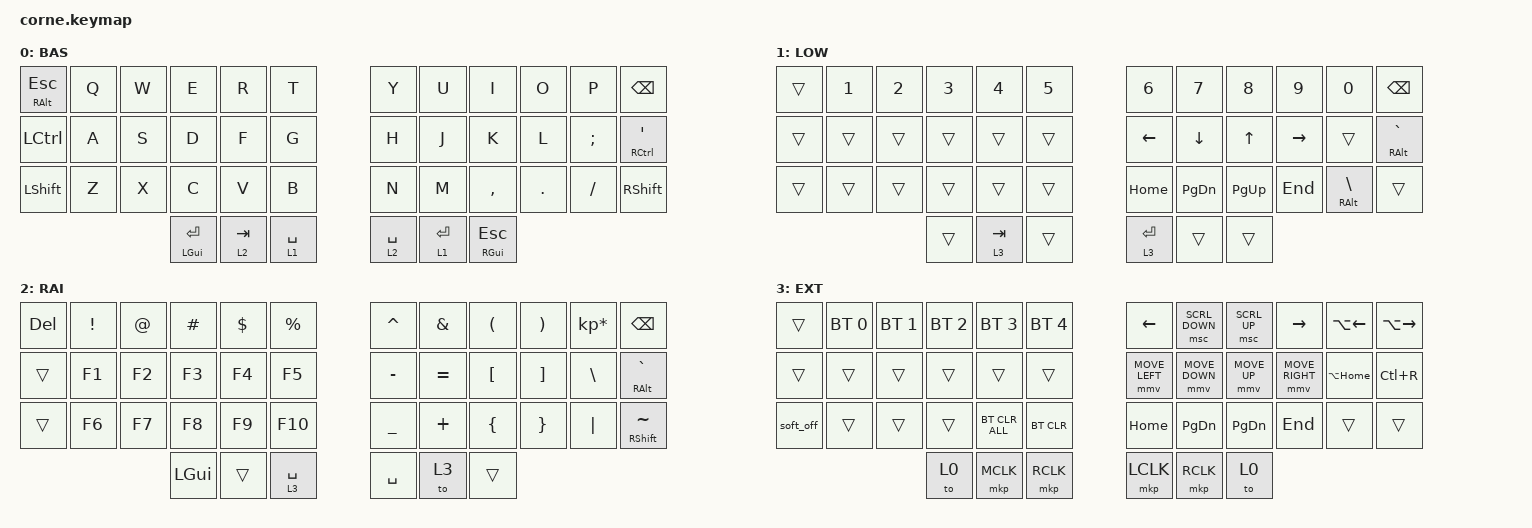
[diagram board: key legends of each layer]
/*
 * Copyright (c) 2020 The ZMK Contributors
 *
 * SPDX-License-Identifier: MIT
 */

#include <dt-bindings/led/led.h>
#include <dt-bindings/zmk/reset.h>
#include <behaviors.dtsi>
#include <dt-bindings/zmk/bt.h>
#include <dt-bindings/zmk/keys.h>
#include <dt-bindings/zmk/pointing.h>

&led_strip { chain-length = <27>; };

/ {
    keymap {
        compatible = "zmk,keymap";

        default_layer {
            display-name = "BAS";

            // -----------------------------------------------------------------------------------------
            // |  TAB |  Q  |  W  |  E  |  R  |  T  |   |  Y  |  U   |  I  |  O  |  P  | BKSP |
            // | CTRL |  A  |  S  |  D  |  F  |  G  |   |  H  |  J   |  K  |  L  |  ;  |  '   |
            // | SHFT |  Z  |  X  |  C  |  V  |  B  |   |  N  |  M   |  ,  |  .  |  /  | ESC  |
            //                    | GUI | LWR | SPC |   | ENT | RSE  | ALT |

            bindings = <
&mt RALT ESC  &kp Q  &kp W  &kp E           &kp R      &kp T          &kp Y        &kp U        &kp I            &kp O    &kp P     &kp BACKSPACE
&kp LCTRL     &kp A  &kp S  &kp D           &kp F      &kp G          &kp H        &kp J        &kp K            &kp L    &kp SEMI  &mt RCTRL SQT
&kp LSHFT     &kp Z  &kp X  &kp C           &kp V      &kp B          &kp N        &kp M        &kp COMMA        &kp DOT  &kp FSLH  &kp RIGHT_SHIFT
                            &mt LGUI ENTER  &lt 2 TAB  &lt 1 SPACE    &lt 2 SPACE  &lt 1 ENTER  &mt RGUI ESCAPE
            >;
        };

        lower_layer {
            display-name = "LOW";

            // -----------------------------------------------------------------------------------------
            // |  TAB |  1  |  2  |  3  |  4  |  5  |   |  6  |  7  |  8  |  9  |  0  | BKSP |
            // | BTCLR| BT1 | BT2 | BT3 | BT4 | BT5 |   | LFT | DWN |  UP | RGT |     |      |
            // | SHFT |     |     |     |     |     |   |     |     |     |     |     |      |
            //                    | GUI |     | SPC |   | ENT |     | ALT |

            bindings = <
&trans  &kp N1  &kp N2  &kp N3  &kp N4     &kp N5    &kp N6     &kp N7         &kp N8     &kp N9     &kp N0                   &kp BACKSPACE
&trans  &trans  &trans  &trans  &trans     &trans    &kp LEFT   &kp DOWN       &kp UP     &kp RIGHT  &trans                   &mt RALT GRAVE
&trans  &trans  &trans  &trans  &trans     &trans    &kp HOME   &kp PAGE_DOWN  &kp PG_UP  &kp END    &mt RIGHT_ALT BACKSLASH  &trans
                        &trans  &lt 3 TAB  &trans    &lt 3 RET  &trans         &trans
            >;
        };

        raise_layer {
            display-name = "RAI";

            // -----------------------------------------------------------------------------------------
            // |  TAB |  !  |  @  |  #  |  $  |  %  |   |  ^  |  &  |  *  |  (  |  )  | BKSP |
            // | CTRL |     |     |     |     |     |   |  -  |  =  |  [  |  ]  |  \  |  `   |
            // | SHFT |     |     |     |     |     |   |  _  |  +  |  {  |  }  | "|" |  ~   |
            //                    | GUI |     | SPC |   | ENT |     | ALT |

            bindings = <
&kp DEL  &kp EXCL  &kp AT  &kp HASH  &kp DLLR  &kp PRCNT      &kp CARET  &kp AMPS   &kp LEFT_PARENTHESIS  &kp RPAR  &kp KP_MULTIPLY  &kp BSPC
&trans   &kp F1    &kp F2  &kp F3    &kp F4    &kp F5         &kp MINUS  &kp EQUAL  &kp LBKT              &kp RBKT  &kp BSLH         &mt RALT GRAVE
&trans   &kp F6    &kp F7  &kp F8    &kp F9    &kp F10        &kp UNDER  &kp PLUS   &kp LBRC              &kp RBRC  &kp PIPE         &mt RIGHT_SHIFT TILDE
                           &kp LGUI  &trans    &lt 3 SPACE    &kp SPACE  &to 3      &trans
            >;
        };

        Extra {
            bindings = <
&trans     &bt BT_SEL 0  &bt BT_SEL 1  &bt BT_SEL 2  &bt BT_SEL 3    &bt BT_SEL 4    &kp LEFT        &msc SCRL_DOWN  &msc SCRL_UP   &kp RIGHT        &kp LA(LEFT)  &kp LA(RIGHT)
&trans     &trans        &trans        &trans        &trans          &trans          &mmv MOVE_LEFT  &mmv MOVE_DOWN  &mmv MOVE_UP   &mmv MOVE_RIGHT  &kp LA(HOME)  &kp LC(R)
&soft_off  &trans        &trans        &trans        &bt BT_CLR_ALL  &bt BT_CLR      &kp HOME        &kp PAGE_DOWN   &kp PAGE_DOWN  &kp END          &trans        &trans
                                       &to 0         &mkp MCLK       &mkp RCLK       &mkp LCLK       &mkp RCLK       &to 0
            >;

            label = "EXT";
        };
    };
};
